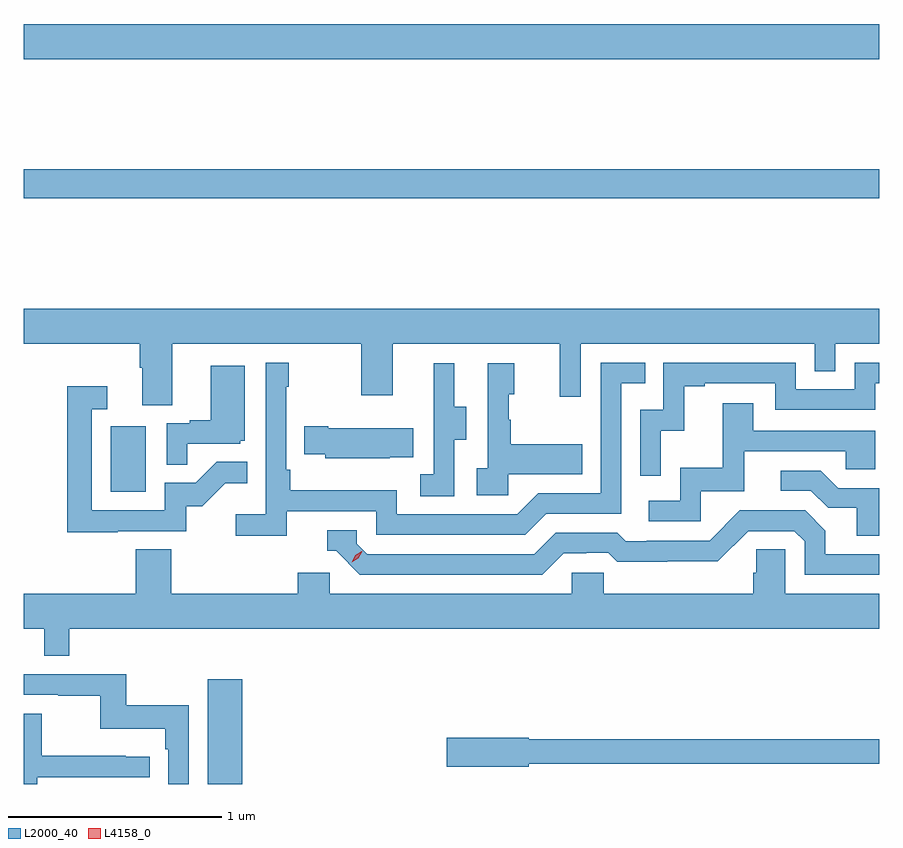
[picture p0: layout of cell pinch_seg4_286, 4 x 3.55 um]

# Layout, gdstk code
import gdstk
lib = gdstk.Library(unit=1e-6, precision=1e-09)
def R(c, l, rs):  # rectangles x0, y0, x1, y1
    for r in rs: c.add(gdstk.rectangle(r[:2], r[2:], *l))
def P(c, l, *ps):  # polygons
    for p in ps: c.add(gdstk.Polygon(p, *l))
L2000_40 = (2000, 40)
L4158_0 = (4158, 0)

pinch_seg4_286 = lib.new_cell('pinch_seg4_286')
R(pinch_seg4_286, L2000_40, [(913.025,809.414,913.186,809.905), (912.572,810.78,912.736,811.087), (912.165,812.152,916.165,812.288), (912.165,812.804,916.165,812.968)])
P(pinch_seg4_286, L2000_40, [(912.165,811.472),(912.707,811.472),(912.707,811.36),(912.719,811.36),(912.719,811.186),(912.859,811.186),(912.859,811.472),(913.744,811.472),(913.744,811.233),(913.891,811.233),(913.891,811.472),(914.672,811.472),(914.672,811.224),(914.769,811.224),(914.769,811.472),(915.864,811.472),(915.864,811.345),(915.96,811.345),(915.96,811.472),(916.165,811.472),(916.165,811.636),(912.165,811.636)],
  [(913.394,810.69),(913.812,810.69),(913.812,810.579),(914.509,810.579),(914.608,810.678),(914.958,810.678),(914.958,811.287),(915.071,811.287),(915.071,811.383),(914.862,811.383),(914.862,810.774),(914.571,810.774),(914.472,810.675),(913.908,810.675),(913.908,810.787),(913.412,810.787),(913.412,810.883),(913.392,810.883),(913.392,811.271),(913.405,811.271),(913.405,811.384),(913.296,811.384),(913.296,810.676),(913.155,810.676),(913.155,810.574),(913.394,810.574)],
  [(915.144,811.067),(915.254,811.067),(915.254,811.275),(915.349,811.275),(915.349,811.287),(915.678,811.287),(915.678,811.164),(916.146,811.164),(916.146,811.287),(916.165,811.287),(916.165,811.383),(916.05,811.383),(916.05,811.26),(915.774,811.26),(915.774,811.383),(915.156,811.383),(915.156,811.164),(915.048,811.164),(915.048,810.855),(915.144,810.855)],
  [(914.43,810.863),(914.777,810.863),(914.777,811.003),(914.443,811.003),(914.443,811.118),(914.433,811.118),(914.433,811.236),(914.458,811.236),(914.458,811.381),(914.334,811.381),(914.334,810.89),(914.283,810.89),(914.283,810.765),(914.43,810.765)],
  [(914.178,811.024),(914.233,811.024),(914.233,811.179),(914.179,811.179),(914.179,811.381),(914.081,811.381),(914.081,811.167),(914.082,811.167),(914.082,810.863),(914.019,810.863),(914.019,810.76),(914.178,810.76)],
  [(912.929,811.005),(913.176,811.005),(913.176,811.02),(913.198,811.02),(913.198,811.369),(913.04,811.369),(913.04,811.114),(912.941,811.114),(912.941,811.101),(912.834,811.101),(912.834,810.907),(912.929,810.907)],
  [(912.605,810.597),(912.924,810.597),(912.924,810.714),(913,810.714),(913.107,810.821),(913.211,810.821),(913.211,810.92),(913.067,810.92),(912.969,810.822),(912.825,810.822),(912.825,810.693),(912.483,810.693),(912.483,811.167),(912.556,811.167),(912.556,811.273),(912.367,811.273),(912.367,810.592),(912.605,810.592)],
  [(915.33,810.783),(915.535,810.783),(915.535,810.969),(916.009,810.969),(916.009,810.885),(916.146,810.885),(916.146,811.065),(915.577,811.065),(915.577,811.195),(915.433,811.195),(915.433,810.892),(915.234,810.892),(915.234,810.738),(915.087,810.738),(915.087,810.642),(915.33,810.642)],
  [(913.877,810.941),(913.985,810.941),(913.985,811.078),(913.588,811.078),(913.588,811.086),(913.477,811.086),(913.477,810.956),(913.575,810.956),(913.575,810.938),(913.877,810.938)],
  [(916.165,810.798),(915.973,810.798),(915.892,810.879),(915.705,810.879),(915.705,810.786),(915.846,810.786),(915.926,810.706),(916.061,810.706),(916.061,810.574),(916.165,810.574)],
  [(914.689,810.492),(914.796,810.492),(914.796,810.495),(914.899,810.495),(914.941,810.453),(915.174,810.453),(915.174,810.455),(915.41,810.455),(915.552,810.597),(915.768,810.597),(915.816,810.549),(915.816,810.393),(916.165,810.393),(916.165,810.489),(915.913,810.489),(915.913,810.599),(915.819,810.693),(915.513,810.693),(915.372,810.552),(915.079,810.552),(915.079,810.549),(914.98,810.549),(914.941,810.588),(914.652,810.588),(914.553,810.489),(913.77,810.489),(913.722,810.537),(913.722,810.6),(913.583,810.6),(913.583,810.504),(913.626,810.504),(913.737,810.393),(914.59,810.393)],
  [(912.377,810.14),(916.165,810.14),(916.165,810.304),(915.726,810.304),(915.726,810.512),(915.589,810.512),(915.589,810.402),(915.575,810.402),(915.575,810.304),(914.877,810.304),(914.877,810.402),(914.727,810.402),(914.727,810.304),(913.596,810.304),(913.596,810.402),(913.445,810.402),(913.445,810.304),(912.854,810.304),(912.854,810.512),(912.689,810.512),(912.689,810.304),(912.165,810.304),(912.165,810.14),(912.261,810.14),(912.261,810.013),(912.377,810.013)],
  [(912.936,809.782),(912.643,809.782),(912.643,809.928),(912.165,809.928),(912.165,809.832),(912.325,809.832),(912.325,809.827),(912.522,809.827),(912.522,809.672),(912.827,809.672),(912.827,809.576),(912.84,809.576),(912.84,809.414),(912.936,809.414)],
  [(912.228,809.445),(912.754,809.445),(912.754,809.541),(912.641,809.541),(912.641,809.546),(912.248,809.546),(912.248,809.742),(912.165,809.742),(912.165,809.414),(912.228,809.414)],
  [(914.526,809.508),(916.165,809.508),(916.165,809.624),(914.526,809.624),(914.526,809.63),(914.142,809.63),(914.142,809.495),(914.526,809.495)])
P(pinch_seg4_286, L4158_0, [(913.699,810.451),(913.699,810.451),(913.715,810.484),(913.746,810.502),(913.747,810.502),(913.747,810.502),(913.73,810.47),(913.699,810.451)])

lib.write_gds('pinch_seg4_286.gds')
